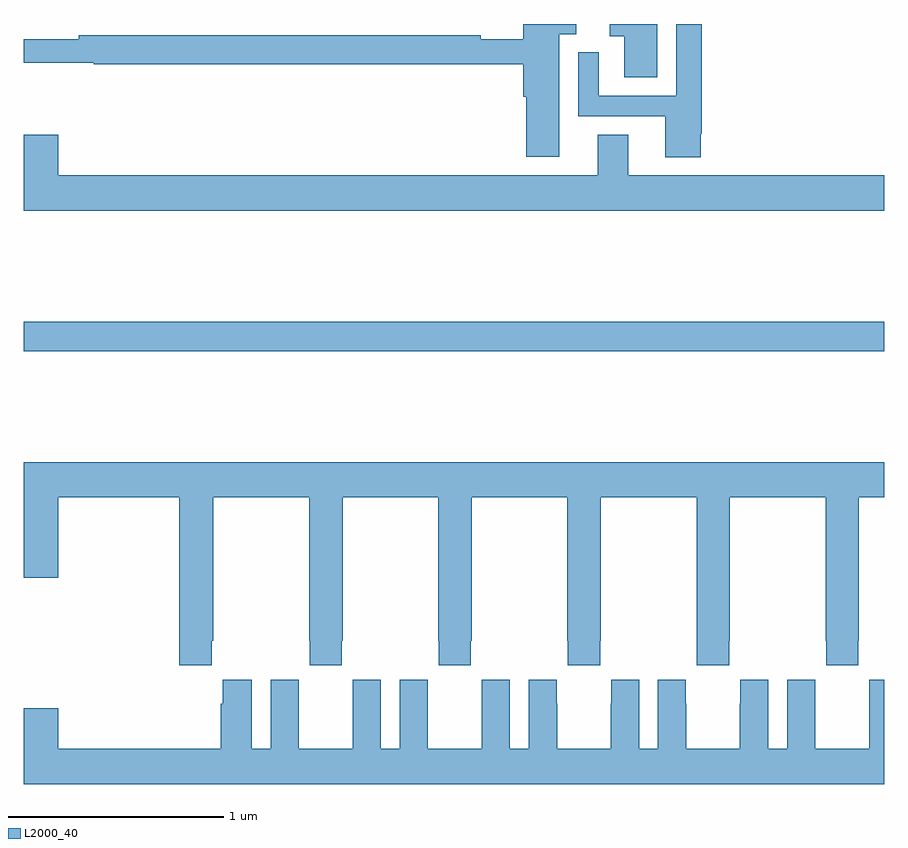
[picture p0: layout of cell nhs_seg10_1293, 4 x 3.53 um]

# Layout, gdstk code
import gdstk
lib = gdstk.Library(unit=1e-6, precision=1e-09)
def R(c, l, rs):  # rectangles x0, y0, x1, y1
    for r in rs: c.add(gdstk.rectangle(r[:2], r[2:], *l))
def P(c, l, *ps):  # polygons
    for p in ps: c.add(gdstk.Polygon(p, *l))
L2000_40 = (2000, 40)

nhs_seg10_1293 = lib.new_cell('nhs_seg10_1293')
R(nhs_seg10_1293, L2000_40, [(177,1316.98,181,1317.116)])
P(nhs_seg10_1293, L2000_40, [(179.488,1318.452),(179.569,1318.452),(179.569,1318.5),(179.321,1318.5),(179.321,1318.43),(179.125,1318.43),(179.125,1318.448),(177.256,1318.448),(177.256,1318.429),(177,1318.429),(177,1318.32),(177.325,1318.32),(177.325,1318.312),(179.321,1318.312),(179.321,1318.161),(179.336,1318.161),(179.336,1317.882),(179.488,1317.882)],
  [(180.146,1317.991),(180.151,1317.991),(180.151,1318.5),(180.032,1318.5),(180.032,1318.167),(179.673,1318.167),(179.673,1318.368),(179.577,1318.368),(179.577,1318.071),(179.981,1318.071),(179.981,1317.881),(180.146,1317.881)],
  [(179.944,1318.5),(179.723,1318.5),(179.723,1318.442),(179.792,1318.442),(179.792,1318.252),(179.944,1318.252)],
  [(181,1317.796),(179.809,1317.796),(179.809,1317.986),(179.669,1317.986),(179.669,1317.796),(177.16,1317.796),(177.16,1317.985),(177,1317.985),(177,1317.632),(181,1317.632)],
  [(177.875,1315.633),(177.882,1315.633),(177.882,1316.3),(178.327,1316.3),(178.327,1315.633),(178.329,1315.633),(178.329,1315.521),(178.479,1315.521),(178.479,1315.633),(178.482,1315.633),(178.482,1316.3),(178.927,1316.3),(178.927,1315.633),(178.929,1315.633),(178.929,1315.521),(179.079,1315.521),(179.079,1315.633),(179.082,1315.633),(179.082,1316.3),(179.527,1316.3),(179.527,1315.633),(179.529,1315.633),(179.529,1315.521),(179.679,1315.521),(179.679,1315.633),(179.682,1315.633),(179.682,1316.3),(180.127,1316.3),(180.127,1315.633),(180.129,1315.633),(180.129,1315.521),(180.279,1315.521),(180.279,1315.633),(180.282,1315.633),(180.282,1316.3),(180.727,1316.3),(180.727,1315.633),(180.729,1315.633),(180.729,1315.521),(180.879,1315.521),(180.879,1315.633),(180.882,1315.633),(180.882,1316.3),(181,1316.3),(181,1316.464),(177,1316.464),(177,1315.926),(177.16,1315.926),(177.16,1316.3),(177.722,1316.3),(177.722,1315.521),(177.875,1315.521)],
  [(181,1315.453),(180.93,1315.453),(180.93,1315.34),(180.929,1315.34),(180.929,1315.132),(180.679,1315.132),(180.679,1315.34),(180.678,1315.34),(180.678,1315.453),(180.548,1315.453),(180.548,1315.132),(180.46,1315.132),(180.46,1315.453),(180.33,1315.453),(180.33,1315.34),(180.329,1315.34),(180.329,1315.132),(180.079,1315.132),(180.079,1315.34),(180.078,1315.34),(180.078,1315.453),(179.948,1315.453),(179.948,1315.132),(179.86,1315.132),(179.86,1315.453),(179.73,1315.453),(179.73,1315.34),(179.729,1315.34),(179.729,1315.132),(179.479,1315.132),(179.479,1315.34),(179.478,1315.34),(179.478,1315.453),(179.348,1315.453),(179.348,1315.132),(179.26,1315.132),(179.26,1315.453),(179.13,1315.453),(179.13,1315.34),(179.129,1315.34),(179.129,1315.132),(178.879,1315.132),(178.879,1315.34),(178.878,1315.34),(178.878,1315.453),(178.748,1315.453),(178.748,1315.132),(178.66,1315.132),(178.66,1315.453),(178.53,1315.453),(178.53,1315.34),(178.529,1315.34),(178.529,1315.132),(178.279,1315.132),(178.279,1315.34),(178.278,1315.34),(178.278,1315.453),(178.148,1315.453),(178.148,1315.132),(178.06,1315.132),(178.06,1315.453),(177.926,1315.453),(177.926,1315.34),(177.917,1315.34),(177.917,1315.132),(177.16,1315.132),(177.16,1315.321),(177,1315.321),(177,1314.968),(181,1314.968)])

lib.write_gds('nhs_seg10_1293.gds')
